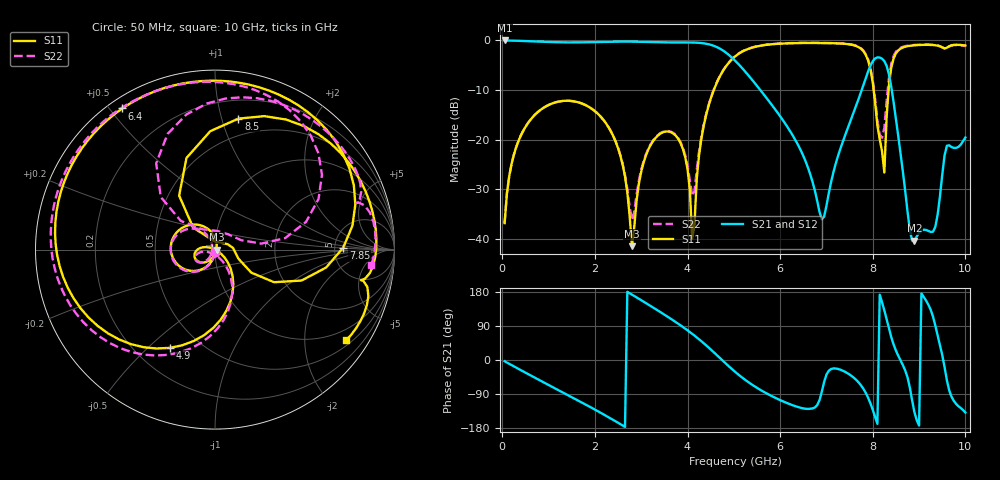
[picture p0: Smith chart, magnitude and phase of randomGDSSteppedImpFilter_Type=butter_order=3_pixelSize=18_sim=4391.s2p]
! freq	dB(S11)	phase(S11)	dB(S12)	phase(S12)
!  dB(S21)	phase(S21)	dB(S22)	phase(S22)
!S-par simulation data
#  GHz  S  DB  R 50
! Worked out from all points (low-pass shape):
!   200 points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, 50 MHz to 10 GHz, reference 50 ohm
!   highest |S21| = -0.01 dB at 50 MHz (marker M1); lowest = -40.3 dB at 8.9 GHz (marker M2)
!   |S21| within 3 dB of the highest: start of sweep to 4.904 GHz
!   lowest |S11| = -41.4 dB at 2.8 GHz (marker M3), VSWR 1.02, Z = 50.9 + j0.034 ohm
!   |S11| at or under -10 dB: start of sweep to 4.567 GHz; 8.019 GHz to 8.341 GHz (321.8 MHz wide, 3.93 % of centre)
!   |S22| runs from -36.8 to -0.5 dB; largest |S21 - S12| = 0
!   S11 on the Smith chart (normalised r, x): 50 MHz: 1.00, -0.03; 4.9 GHz: 0.34, -0.59; 6.4 GHz: 0.04, +0.54; 7.85 GHz: 5.99, +0.25; 8.5 GHz: 0.35, +1.13; 10 GHz: 0.64, -3.08
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0.05  -36.79 -92.3  -0.01 -3.4  -0.01 -3.4  -36.79 -92.1
0.55  -16.71 -127.9  -0.15 -36.7  -0.15 -36.7  -16.70 -126.1
1.75  -12.82 152.0  -0.38 -114.2  -0.38 -114.2  -12.82 159.5
2.5  -21.70 95.8  -0.25 -165.6  -0.25 -165.6  -21.64 117.0
2.8  -41.43 2.3  -0.25 172.6  -0.25 172.6  -36.22 169.9
3.4  -18.85 -144.1  -0.37 127.5  -0.37 127.5  -18.76 -142.2
3.9  -21.86 173.2  -0.41 87.1  -0.41 87.1  -21.60 -169.9
4.1  -39.94 151.8  -0.42 69.2  -0.42 69.2  -31.33 -131.7
4.35  -17.18 -50.7  -0.59 44.3  -0.59 44.3  -16.89 -57.7
4.9  -4.40 -114.8  -2.98 -17.6  -2.98 -17.6  -4.34 -109.1
5.05  -3.05 -131.5  -4.29 -33.6  -4.29 -33.6  -3.00 -124.3
5.65  -0.95 174.1  -10.92 -84.3  -10.92 -84.3  -0.92 -173.5
6.4  -0.53 123.3  -21.29 -124.7  -21.29 -124.7  -0.50 141.8
6.7  -0.51 104.5  -28.51 -127.7  -28.51 -127.7  -0.48 125.6
6.95  -0.53 88.4  -35.47 -57.7  -35.47 -57.7  -0.50 111.8
7.85  -2.92 0.8  -7.55 -87.1  -7.55 -87.1  -2.77 34.9
8.1  -17.12 -21.1  -3.41 -168.4  -3.41 -168.4  -16.13 19.5
8.25  -26.60 94.7  -4.17 130.8  -4.17 130.8  -17.61 121.0
8.35  -8.85 123.6  -6.87 82.8  -6.87 82.8  -7.52 135.9
8.5  -2.60 79.8  -15.79 24.9  -15.79 24.9  -2.28 101.9
8.9  -0.98 28.7  -40.33 -138.1  -40.33 -138.1  -0.91 57.2
10  -1.03 -34.7  -19.55 -138.5  -19.55 -138.5  -1.16 -5.6
